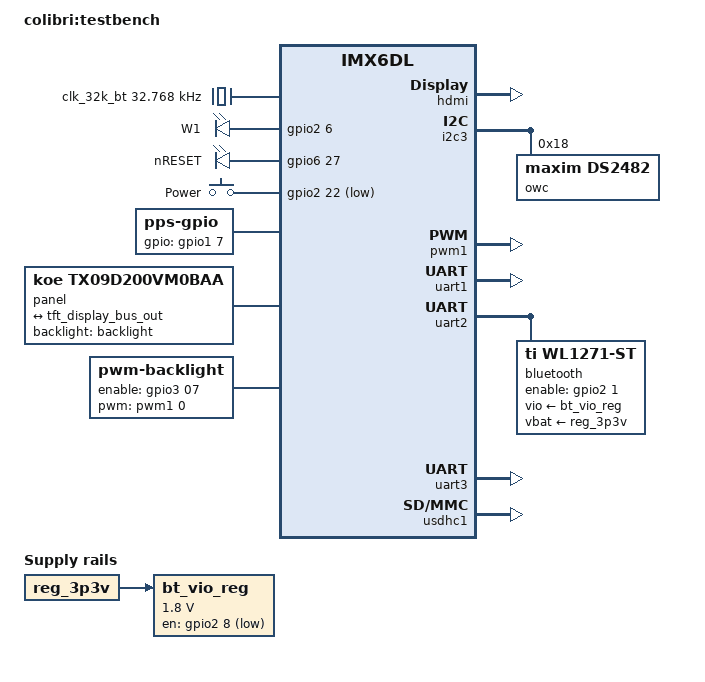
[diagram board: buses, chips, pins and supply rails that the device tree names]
/*
 * Copyright 2014-2016 Toradex AG
 * Copyright 2012 Freescale Semiconductor, Inc.
 * Copyright 2011 Linaro Ltd.
 *
 * This file is dual-licensed: you can use it either under the terms
 * of the GPL or the X11 license, at your option. Note that this dual
 * licensing only applies to this file, and not this project as a
 * whole.
 *
 *  a) This file is free software; you can redistribute it and/or
 *     modify it under the terms of the GNU General Public License
 *     version 2 as published by the Free Software Foundation.
 *
 *     This file is distributed in the hope that it will be useful
 *     but WITHOUT ANY WARRANTY; without even the implied warranty of
 *     MERCHANTABILITY or FITNESS FOR A PARTICULAR PURPOSE.  See the
 *     GNU General Public License for more details.
 *
 * Or, alternatively
 *
 *  b) Permission is hereby granted, free of charge, to any person
 *     obtaining a copy of this software and associated documentation
 *     files (the "Software"), to deal in the Software without
 *     restriction, including without limitation the rights to use
 *     copy, modify, merge, publish, distribute, sublicense, and/or
 *     sell copies of the Software, and to permit persons to whom the
 *     Software is furnished to do so, subject to the following
 *     conditions:
 *
 *     The above copyright notice and this permission notice shall be
 *     included in all copies or substantial portions of the Software.
 *
 *     THE SOFTWARE IS PROVIDED , WITHOUT WARRANTY OF ANY KIND
 *     EXPRESS OR IMPLIED, INCLUDING BUT NOT LIMITED TO THE WARRANTIES
 *     OF MERCHANTABILITY, FITNESS FOR A PARTICULAR PURPOSE AND
 *     NONINFRINGEMENT. IN NO EVENT SHALL THE AUTHORS OR COPYRIGHT
 *     HOLDERS BE LIABLE FOR ANY CLAIM, DAMAGES OR OTHER LIABILITY
 *     WHETHER IN AN ACTION OF CONTRACT, TORT OR OTHERWISE, ARISING
 *     FROM, OUT OF OR IN CONNECTION WITH THE SOFTWARE OR THE USE OR
 *     OTHER DEALINGS IN THE SOFTWARE.
 */

/dts-v1/;

#include <dt-bindings/input/input.h>
#include <dt-bindings/interrupt-controller/irq.h>
#include "imx6dl.dtsi"
#include "imx6qdl-colibri-ravion.dtsi"

/ {
	model = "colibri:testbench";
	compatible = "toradex,mcp", "toradex,colibri_imx6dl-eval",
		"toradex,colibri_imx6dl", "fsl,imx6dl";

	/*
	 * Device specific clocks
	 */
	clocks {
		clk_32k_bt: bt_clk {
			compatible = "fixed-clock";
			#clock-cells = <0>;
			clock-frequency = <32768>;
			clock-accuracy = <100>;
		 };
	};

	/*
	 * Device specific regulators
	 */
	bt_vio_reg: bt_vio {
			pinctrl-names = "default";
			pinctrl-0 = <&pinctrl_reg_bt>;
			compatible = "regulator-fixed";
			regulator-name = "VIO_BT";
			regulator-min-microvolt = <1800000>;
			regulator-max-microvolt = <1800000>;
			gpio = <&gpio2 8 GPIO_ACTIVE_LOW>;
			regulator-always-on;
			vin-supply = <&reg_3p3v>;
	};

	/*
	 * Device specific leds
	 */
	gpio-leds {
		compatible = "gpio-leds";
		pinctrl-names = "default";
		pinctrl-0 = <&pinctrl_gpio_leds>;

		w1 {
			label = "W1";
			gpios = <&gpio2 6 GPIO_ACTIVE_HIGH>;
			default-state = "on";
		};

		nreset {
			label = "nRESET";
			gpios = <&gpio6 27 GPIO_ACTIVE_HIGH>;
			default-state = "off";
		};
	};

	/*
	 * Device specific keys
	 */
	gpio-keys {
		compatible = "gpio-keys";
		pinctrl-names = "default";
		pinctrl-0 = <&pinctrl_gpio_keys>;

		power {
			label = "Power";
			gpios = <&gpio2 22 GPIO_ACTIVE_LOW>; /* SODIMM 45 */
			linux,code = <KEY_POWER>;
			debounce-interval = <100>;
			wakeup-source;
		};
	};

	/*
	 * PPS pin from SNS receiver
	 */
	pps {
		compatible = "pps-gpio";
		pinctrl-names = "default";
		pinctrl-0 = <&pinctrl_pps_gpio>;

		gpios = <&gpio1 7 GPIO_ACTIVE_HIGH>; /* soDimm 55 */
		assert-falling-edge;
		status = "okay";
	};

	/*
	 * LCD Panel
	 */
	panel {
		compatible = "koe,tx09d200vm0baa";
		backlight = <&backlight>;

		port {
			lcd_panel_in: endpoint {
				remote-endpoint = <&tft_display_bus_out>;
			};
		};
	};

	backlight: backlight {
		pinctrl-names = "default";
		pinctrl-0 = <&pinctrl_gpio_bl_on>;
		compatible = "pwm-backlight";
		enable-gpios = <&gpio3 07 GPIO_ACTIVE_HIGH>;	/* soDimm 125 */
		pwms = <&pwm1 0 500>;
		brightness-levels = <0 31 63 95 127 159 191 223 255>;
		default-brightness-level = <4>;
		status = "okay";
	};
};

/*
 * Display subsystem
 */
&tft_display_bus_out {
	remote-endpoint = <&lcd_panel_in>;
};

&hdmi { status = "okay"; };

/*
 * Colibri I2C: I2C3_SDA/SCL on SODIMM 194/196 (e.g. RTC on carrier board)
 */
&i2c3 {
	status = "okay";

	/* DS2484: I2C to OneWire Converter */
	owc: ds2482@18 {
		status = "okay";
		compatible = "maxim,ds2482";
		reg = <0x18>;
	};
};

/* Only pwm1 used as bright contol, all other - disabled  */
&pwm1 { status = "okay";	}; /* soDimm 28 - LCD bright */

/* uart1 - sys (3w), uart2 - bluetoth (H3), uart3 3-wire */
&uart1 { status = "okay"; }; /* default full feature uart */
&uart2 { /* default have CTS/RTS pins */
	status = "okay";

	bluetooth {
		pinctrl-names = "default";
		pinctrl-0 = <&pinctrl_bluetooth>;

		enable-gpios	= <&gpio2 1 GPIO_ACTIVE_HIGH>;
		compatible	= "ti,wl1271-st";
		clocks		= <&clk_32k_bt 0>;
		clock-names	= "ext_clock";
		max-speed	= <3686400>;
		/*
		 * Params not found in source, but described in documentation
		 */
		current-speed	= <115200>;
		vio-supply	= <&bt_vio_reg>;
		vbat-supply	= <&reg_3p3v>;
		status = "okay";
	};
};
&uart3 { status = "okay"; }; /* default 3-wire uart */

/* external mmc card */
&usdhc1 { status = "okay"; };

/* Board specific io muxing */
&iomuxc {
	pinctrl_gpio_bl_on: gpioblon {
		fsl,pins = <
			MX6QDL_PAD_EIM_DA7__GPIO3_IO07	0x1b0b0 /* soDimm 125 */
		>;
	};

	pinctrl_bluetooth: gpio-bluetooth {
		fsl,pins = <
			MX6QDL_PAD_NANDF_D1__GPIO2_IO01	0x0f058 /* PU_22K soDimm 134 - nBT_PDN */
		>;
	};

	pinctrl_reg_bt: gpio-reg-bt {
		fsl,pins = <
			MX6QDL_PAD_SD4_DAT0__GPIO2_IO08	0x0f058 /* PU_22K soDimm 104: BT_PWR */
		>;
	};

	pinctrl_gpio_leds: gpio-leds {
		fsl,pins = <
			MX6QDL_PAD_RGMII_RD1__GPIO6_IO27 0xf058 /* PU_22K interal RGMII_RD1 - nRESET OUT */
			MX6QDL_PAD_NANDF_D6__GPIO2_IO06  0xf058 /* PU_22K soDImm 127: SLPZ@DS2484R   */
		>;
	};

	pinctrl_gpio_keys: gpiokeys {
		fsl,pins = <
			MX6QDL_PAD_EIM_A16__GPIO2_IO22		0x1b0b0	/* Power button */
		>;
	};

	pinctrl_pps_gpio: gpiopps {
		fsl,pins = <
			MX6QDL_PAD_GPIO_7__GPIO1_IO07		0x1b0b0 /* soDimm 55 */
		>;
	};
};
